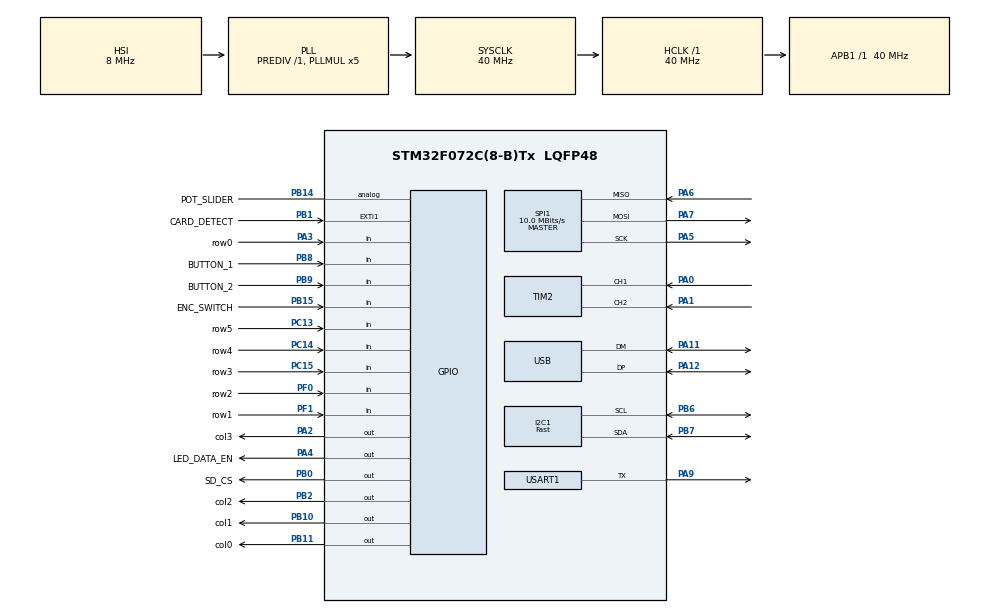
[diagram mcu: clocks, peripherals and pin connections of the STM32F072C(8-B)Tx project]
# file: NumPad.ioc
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FATFS._CODE_PAGE=1252
FATFS._FS_LOCK=0
FATFS._FS_NORTC=1
FATFS._FS_TINY=1
FATFS._LFN_UNICODE=0
FATFS._MAX_LFN=32
FATFS._USE_FIND=0
FATFS._USE_LFN=3
FATFS._USE_MKFS=0
FREERTOS.HEAP_NUMBER=1
FREERTOS.MEMORY_ALLOCATION=0
FREERTOS.Tasks01=kb_scan,0,256,kb_scan_task,Default,NULL,Dynamic,NULL,NULL
FREERTOS.configMINIMAL_STACK_SIZE=128
FREERTOS.configTOTAL_HEAP_SIZE=5100
I2C1.I2C_Speed_Mode=I2C_Fast
I2C1.Speed=400
I2C1.Timing=0x0000020B
IWDG.Prescaler=IWDG_PRESCALER_32
IWDG.Reload=4095
IWDG.Window=4095
Mcu.Family=STM32F0
Mcu.Name=STM32F072C(8-B)Tx
Mcu.Package=LQFP48
NVIC.EXTI0_1_IRQn=true\:3\:0\:false\:false\:true\:true\:true\:true
NVIC.TIM6_DAC_IRQn=true\:0\:0\:false\:false\:true\:false\:true\:true
NVIC.TimeBase=TIM6_DAC_IRQn
NVIC.TimeBaseIP=TIM6
NVIC.USB_IRQn=true\:3\:0\:false\:false\:true\:true\:true\:true
PA0.GPIO_ModeDefaultPP=GPIO_MODE_AF_OD
PA0.GPIO_PuPd=GPIO_PULLUP
PA0.GPIO_Speed=GPIO_SPEED_FREQ_HIGH
PA0.Signal=S_TIM2_CH1_ETR
PA1.GPIO_ModeDefaultPP=GPIO_MODE_AF_OD
PA1.GPIO_PuPd=GPIO_PULLUP
PA1.GPIO_Speed=GPIO_SPEED_FREQ_HIGH
PA1.Signal=S_TIM2_CH2
PA11.Mode=Device
PA11.Signal=USB_DM
PA12.Mode=Device
PA12.Signal=USB_DP
PA13.Mode=Serial_Wire
PA13.Signal=SYS_SWDIO
PA14.Mode=Serial_Wire
PA14.Signal=SYS_SWCLK
PA2.GPIO_Label=col3
PA2.Signal=GPIO_Output
PA3.GPIO_Label=row0
PA3.GPIO_PuPd=GPIO_PULLUP
PA3.Signal=GPIO_Input
PA4.GPIO_Label=LED_DATA_EN
PA4.Signal=GPIO_Output
PA5.Mode=Full_Duplex_Master
PA5.Signal=SPI1_SCK
PA6.Mode=Full_Duplex_Master
PA6.Signal=SPI1_MISO
PA7.Mode=Full_Duplex_Master
PA7.Signal=SPI1_MOSI
PA9.Mode=Half_duplex(single_wire_mode)
PA9.Signal=USART1_TX
PB0.GPIO_Label=SD_CS
PB0.GPIO_PuPd=GPIO_NOPULL
PB0.PinState=GPIO_PIN_SET
PB0.Signal=GPIO_Output
PB1.GPIO_Label=CARD_DETECT
PB1.Signal=GPXTI1
PB10.GPIO_Label=col1
PB10.Signal=GPIO_Output
PB11.GPIO_Label=col0
PB11.Signal=GPIO_Output
PB14.GPIO_Label=POT_SLIDER
PB14.Signal=GPIO_Analog
PB15.GPIO_Label=ENC_SWITCH
PB15.Signal=GPIO_Input
PB2.GPIO_Label=col2
PB2.Signal=GPIO_Output
PB6.Mode=I2C
PB6.Signal=I2C1_SCL
PB7.Mode=I2C
PB7.Signal=I2C1_SDA
PB8.GPIO_Label=BUTTON_1
PB8.GPIO_PuPd=GPIO_PULLUP
PB8.Signal=GPIO_Input
PB9.GPIO_Label=BUTTON_2
PB9.GPIO_PuPd=GPIO_PULLUP
PB9.Signal=GPIO_Input
PC13.GPIO_Label=row5
PC13.GPIO_PuPd=GPIO_PULLUP
PC13.Signal=GPIO_Input
PC14-OSC32_IN.GPIO_Label=row4
PC14-OSC32_IN.GPIO_PuPd=GPIO_PULLUP
PC14-OSC32_IN.Signal=GPIO_Input
PC15-OSC32_OUT.GPIO_Label=row3
PC15-OSC32_OUT.GPIO_PuPd=GPIO_PULLUP
PC15-OSC32_OUT.Signal=GPIO_Input
PF0-OSC_IN.GPIO_Label=row2
PF0-OSC_IN.GPIO_PuPd=GPIO_PULLUP
PF0-OSC_IN.Signal=GPIO_Input
PF1-OSC_OUT.GPIO_Label=row1
PF1-OSC_OUT.GPIO_PuPd=GPIO_PULLUP
PF1-OSC_OUT.Signal=GPIO_Input
ProjectManager.HeapSize=0x400
ProjectManager.StackSize=0x600
ProjectManager.TargetToolchain=MDK-ARM V5
RCC.AHBFreq_Value=40000000
RCC.APB1Freq_Value=40000000
RCC.APB1TimFreq_Value=40000000
RCC.HCLKFreq_Value=40000000
RCC.PLLMUL=RCC_PLL_MUL5
RCC.SYSCLKFreq_VALUE=40000000
RCC.SYSCLKSource=RCC_SYSCLKSOURCE_PLLCLK
RCC.Usart1ClockSelection=RCC_USART1CLKSOURCE_SYSCLK
SH.S_TIM2_CH1_ETR.0=TIM2_CH1,Encoder_Interface
SH.S_TIM2_CH2.0=TIM2_CH2,Encoder_Interface
SPI1.BaudRatePrescaler=SPI_BAUDRATEPRESCALER_4
SPI1.CalculateBaudRate=10.0 MBits/s
SPI1.DataSize=SPI_DATASIZE_8BIT
SPI1.Direction=SPI_DIRECTION_2LINES
SPI1.Mode=SPI_MODE_MASTER
SPI1.VirtualType=VM_MASTER
USART1.BaudRate=115200
USART1.Mode=MODE_TX
USART1.VirtualMode-Half_duplex(single_wire_mode)=VM_ASYNC
USART1.WordLength=WORDLENGTH_8B
USB_DEVICE.CLASS_NAME_FS=HID
USB_DEVICE.VirtualMode=Hid
USB_DEVICE.VirtualModeFS=Hid_FS
VP_ADC_TempSens_Input.Mode=IN-TempSens
VP_FATFS_VS_Generic.Mode=User_defined
VP_FREERTOS_VS_CMSIS_V1.Mode=CMSIS_V1
VP_IWDG_VS_IWDG.Mode=IWDG_Activate
VP_SYS_VS_tim6.Mode=TIM6
VP_USB_DEVICE_VS_USB_DEVICE_HID_FS.Mode=HID_FS
board=lul

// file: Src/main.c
/* USER CODE BEGIN Header */
/**
  ******************************************************************************
  * @file           : main.c
  * @brief          : Main program body
  ******************************************************************************
  * @attention
  *
  * <h2><center>&copy; Copyright (c) 2020 STMicroelectronics.
  * All rights reserved.</center></h2>
  *
  * This software component is licensed by ST under Ultimate Liberty license
  * SLA0044, the "License"; You may not use this file except in compliance with
  * the License. You may obtain a copy of the License at:
  *                             www.st.com/SLA0044
  *
  ******************************************************************************
  */
/* USER CODE END Header */

#include "main.h"
#include "cmsis_os.h"
#include "adc.h"
#include "fatfs.h"
#include "i2c.h"
#include "iwdg.h"
#include "spi.h"
#include "tim.h"
#include "usart.h"
#include "usb_device.h"
#include "gpio.h"

/* USER CODE BEGIN Includes */
#include "ssd1306.h"
#include "ssd1306_fonts.h"
#include "Keypad.h"

/* USER CODE END Includes */

void SystemClock_Config(void);
void MX_FREERTOS_Init(void);

int main(void)
{

  /* MCU Configuration--------------------------------------------------------*/

  /* Reset of all peripherals, Initializes the Flash interface and the Systick. */
  HAL_Init();

  /* USER CODE BEGIN Init */
	ssd1306_Init();
	KeyPad_Init();

  /* USER CODE END Init */

  /* Configure the system clock */
  SystemClock_Config();

  /* Initialize all configured peripherals */
  MX_GPIO_Init();
  MX_USART1_UART_Init();
  MX_SPI1_Init();
  MX_FATFS_Init();
  MX_I2C1_Init();
  MX_ADC_Init();
  MX_IWDG_Init();
  MX_TIM2_Init();
  /* USER CODE BEGIN 2 */

	ssd1306_WriteString("test11", Font_6x8, White);
	ssd1306_UpdateScreen();
	ssd1306_Fill(Black);
	HAL_Delay(500);

  /* USER CODE END 2 */

  /* Call init function for freertos objects (in freertos.c) */
  //MX_FREERTOS_Init();
  /* Start scheduler */
 // osKernelStart();

  /* We should never get here as control is now taken by the scheduler */
  /* Infinite loop */
  /* USER CODE BEGIN WHILE */
  while (1)
  {
	ssd1306_Fill(Black);
	ssd1306_SetCursor(1,0);
	ssd1306_WriteString("Scanning...", Font_7x10, White);
	ssd1306_UpdateScreen();
	HAL_Delay(1000);
	//uint16_t key = KeyPad_WaitForKey(0);
	//int key =	KeyPad_Scan();
	ssd1306_Fill(Black);
	char str[10];
	uint16_t key = 2;
	sprintf(str, "%i", key);
	ssd1306_SetCursor(1,0);
	ssd1306_WriteString("Result:", Font_7x10, White);
	ssd1306_WriteString(str, Font_7x10, White);
	ssd1306_UpdateScreen();
	HAL_Delay(1000);
    /* USER CODE END WHILE */

  }
}

void SystemClock_Config(void)
{
  RCC_OscInitTypeDef RCC_OscInitStruct = {0};
  RCC_ClkInitTypeDef RCC_ClkInitStruct = {0};
  RCC_PeriphCLKInitTypeDef PeriphClkInit = {0};

  /** Initializes the CPU, AHB and APB busses clocks
  */
  RCC_OscInitStruct.OscillatorType = RCC_OSCILLATORTYPE_HSI|RCC_OSCILLATORTYPE_HSI14
                              |RCC_OSCILLATORTYPE_HSI48|RCC_OSCILLATORTYPE_LSI;
  RCC_OscInitStruct.HSIState = RCC_HSI_ON;
  RCC_OscInitStruct.HSI48State = RCC_HSI48_ON;
  RCC_OscInitStruct.HSI14State = RCC_HSI14_ON;
  RCC_OscInitStruct.HSICalibrationValue = RCC_HSICALIBRATION_DEFAULT;
  RCC_OscInitStruct.HSI14CalibrationValue = 16;
  RCC_OscInitStruct.LSIState = RCC_LSI_ON;
  RCC_OscInitStruct.PLL.PLLState = RCC_PLL_ON;
  RCC_OscInitStruct.PLL.PLLSource = RCC_PLLSOURCE_HSI;
  RCC_OscInitStruct.PLL.PLLMUL = RCC_PLL_MUL5;
  RCC_OscInitStruct.PLL.PREDIV = RCC_PREDIV_DIV1;
  if (HAL_RCC_OscConfig(&RCC_OscInitStruct) != HAL_OK)
  {
    Error_Handler();
  }
  /** Initializes the CPU, AHB and APB busses clocks
  */
  RCC_ClkInitStruct.ClockType = RCC_CLOCKTYPE_HCLK|RCC_CLOCKTYPE_SYSCLK
                              |RCC_CLOCKTYPE_PCLK1;
  RCC_ClkInitStruct.SYSCLKSource = RCC_SYSCLKSOURCE_PLLCLK;
  RCC_ClkInitStruct.AHBCLKDivider = RCC_SYSCLK_DIV1;
  RCC_ClkInitStruct.APB1CLKDivider = RCC_HCLK_DIV1;

  if (HAL_RCC_ClockConfig(&RCC_ClkInitStruct, FLASH_LATENCY_1) != HAL_OK)
  {
    Error_Handler();
  }
  PeriphClkInit.PeriphClockSelection = RCC_PERIPHCLK_USB|RCC_PERIPHCLK_USART1
                              |RCC_PERIPHCLK_I2C1;
  PeriphClkInit.Usart1ClockSelection = RCC_USART1CLKSOURCE_SYSCLK;
  PeriphClkInit.I2c1ClockSelection = RCC_I2C1CLKSOURCE_HSI;
  PeriphClkInit.UsbClockSelection = RCC_USBCLKSOURCE_HSI48;

  if (HAL_RCCEx_PeriphCLKConfig(&PeriphClkInit) != HAL_OK)
  {
    Error_Handler();
  }
}

 /**
  * @brief  Period elapsed callback in non blocking mode
  * @note   This function is called  when TIM6 interrupt took place, inside
  * HAL_TIM_IRQHandler(). It makes a direct call to HAL_IncTick() to increment
  * a global variable "uwTick" used as application time base.
  * @param  htim : TIM handle
  * @retval None
  */
void HAL_TIM_PeriodElapsedCallback(TIM_HandleTypeDef *htim)
{
  if (htim->Instance == TIM6) {
    HAL_IncTick();
  }
}

void Error_Handler(void)
{
}

/************************ (C) COPYRIGHT STMicroelectronics *****END OF FILE****/
